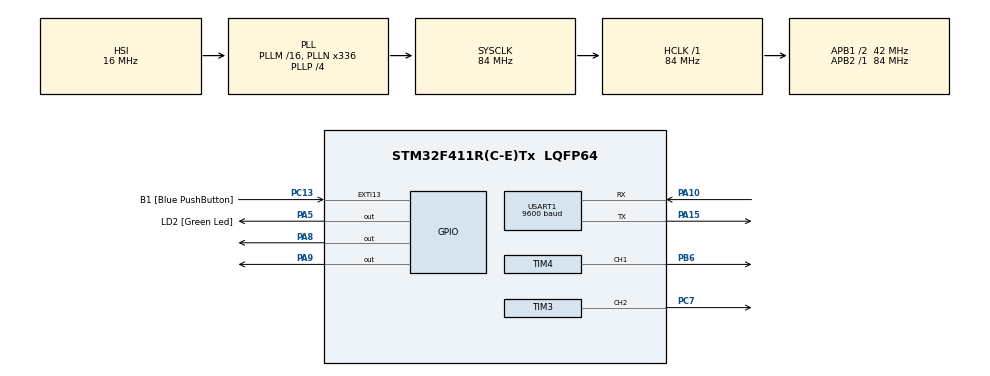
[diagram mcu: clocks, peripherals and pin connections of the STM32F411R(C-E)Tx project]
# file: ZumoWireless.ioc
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Mcu.Family=STM32F4
Mcu.Name=STM32F411R(C-E)Tx
Mcu.Package=LQFP64
NVIC.PriorityGroup=NVIC_PRIORITYGROUP_0
NVIC.USART1_IRQn=true\:0\:0\:false\:false\:true\:true\:true\:true
PA10.Mode=Asynchronous
PA10.Signal=USART1_RX
PA13.GPIO_Label=TMS
PA13.Signal=SYS_JTMS-SWDIO
PA14.GPIO_Label=TCK
PA14.Signal=SYS_JTCK-SWCLK
PA15.Mode=Asynchronous
PA15.Signal=USART1_TX
PA2.GPIO_Label=USART_TX
PA2.Signal=USART2_TX
PA3.GPIO_Label=USART_RX
PA3.Signal=USART2_RX
PA5.GPIO_Label=LD2 [Green Led]
PA5.Signal=GPIO_Output
PA8.Signal=GPIO_Output
PA9.Signal=GPIO_Output
PB3.GPIO_Label=SWO
PB3.Signal=SYS_JTDO-SWO
PB6.Signal=S_TIM4_CH1
PC13-ANTI_TAMP.GPIO_Label=B1 [Blue PushButton]
PC13-ANTI_TAMP.GPIO_ModeDefaultEXTI=GPIO_MODE_IT_FALLING
PC13-ANTI_TAMP.Signal=GPXTI13
PC14-OSC32_IN.Signal=RCC_OSC32_IN
PC15-OSC32_OUT.Signal=RCC_OSC32_OUT
PC7.Signal=S_TIM3_CH2
PH0\ -\ OSC_IN.Signal=RCC_OSC_IN
PH1\ -\ OSC_OUT.Signal=RCC_OSC_OUT
ProjectManager.HeapSize=0x200
ProjectManager.StackSize=0x400
ProjectManager.TargetToolchain=STM32CubeIDE
RCC.48MHZClocksFreq_Value=84000000
RCC.AHBFreq_Value=84000000
RCC.APB1CLKDivider=RCC_HCLK_DIV2
RCC.APB1Freq_Value=42000000
RCC.APB1TimFreq_Value=84000000
RCC.APB2Freq_Value=84000000
RCC.APB2TimFreq_Value=84000000
RCC.CortexFreq_Value=84000000
RCC.FLatency-AdvancedSettings=FLASH_LATENCY_2
RCC.HCLKFreq_Value=84000000
RCC.HSE_VALUE=8000000
RCC.HSI_VALUE=16000000
RCC.LSE_VALUE=32768
RCC.PLLN=336
RCC.PLLP=RCC_PLLP_DIV4
RCC.SYSCLKFreq_VALUE=84000000
RCC.SYSCLKSource=RCC_SYSCLKSOURCE_PLLCLK
RCC.VCOOutputFreq_Value=336000000
SH.S_TIM3_CH2.0=TIM3_CH2,PWM Generation2 CH2
SH.S_TIM4_CH1.0=TIM4_CH1,PWM Generation1 CH1
TIM3.Channel-PWM\ Generation2\ CH2=TIM_CHANNEL_2
TIM3.Period=199
TIM4.Channel-PWM\ Generation1\ CH1=TIM_CHANNEL_1
TIM4.Period=199
USART1.BaudRate=9600
USART1.VirtualMode=VM_ASYNC
VP_TIM3_VS_ClockSourceINT.Mode=Internal
VP_TIM4_VS_ClockSourceINT.Mode=Internal
board=NUCLEO-F411RE

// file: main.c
/* USER CODE BEGIN Header */
/**
  ******************************************************************************
  * @file           : main.c
  * @brief          : Main program body
  ******************************************************************************
  * @attention
  *
  * Copyright (c) 2024 STMicroelectronics.
  * All rights reserved.
  *
  * This software is licensed under terms that can be found in the LICENSE file
  * in the root directory of this software component.
  * If no LICENSE file comes with this software, it is provided AS-IS.
  *
  ******************************************************************************
  */
/* USER CODE END Header */
#include "main.h"

/* USER CODE BEGIN Includes */
#include "string.h"
#include "stdio.h"
#include "genre_table.h"
#include "dance_library.h"
/* USER CODE END Includes */

TIM_HandleTypeDef htim3;
TIM_HandleTypeDef htim4;

UART_HandleTypeDef huart1;

void SystemClock_Config(void);
static void MX_GPIO_Init(void);
static void MX_TIM3_Init(void);
static void MX_TIM4_Init(void);
static void MX_USART1_UART_Init(void);

/* USER CODE BEGIN 0 */
#define TIM3_ADDR 0x40000400 //timer 3 base register
#define TIM4_ADDR 0x40000800 //timer 4 base register
#define TIM_CCR1_OFFSET 0x34 //capture/compare register 1
#define TIM_CCR2_OFFSET 0x38 //capture/compare register 2
#define CCR_MASK 0xFFFF

char genre[1];
char new_genre[1];

void HAL_UART_RxCpltCallback(UART_HandleTypeDef *huart)
{
    if (huart->Instance == USART1)
    {
    	//size_t len = strlen(genre) + 1;
    	//char new_genre[len];
    	//memcpy(new_genre, genre, len);

    	//start_dance(genre);
    	new_genre[0] = genre[0];
    }

    HAL_UART_Receive_IT(&huart1, &genre, sizeof(genre));
 }
/* USER CODE END 0 */

int main(void)
{

  /* USER CODE BEGIN 1 */
	// create_table();
  /* USER CODE END 1 */

  /* MCU Configuration--------------------------------------------------------*/

  /* Reset of all peripherals, Initializes the Flash interface and the Systick. */
  HAL_Init();

  /* Configure the system clock */
  SystemClock_Config();

  /* Initialize all configured peripherals */
  MX_GPIO_Init();
  MX_TIM3_Init();
  MX_TIM4_Init();
  MX_USART1_UART_Init();
  /* USER CODE BEGIN 2 */
  HAL_TIM_PWM_Start(&htim3, TIM_CHANNEL_2);
  HAL_TIM_PWM_Start(&htim4, TIM_CHANNEL_1);
  HAL_UART_Receive_IT(&huart1, &genre, sizeof(genre));
  //HAL_Delay(10000);

  /* USER CODE END 2 */

  /* Infinite loop */
  /* USER CODE BEGIN WHILE */
  while (1)
  {
	  //char genre[1];
//	  HAL_StatusTypeDef status = HAL_UART_Receive(&huart1, &genre, sizeof(genre), HAL_MAX_DELAY);
//	  if (status == HAL_OK) {
////		  size_t len = strlen(genre) + 1;
////		  char new_genre[len];
////		  memcpy(new_genre, genre, len);
//
//		  start_dance(genre[0]);
//	  }
    /* USER CODE END WHILE */

    /* USER CODE BEGIN 3 */
	  start_dance(new_genre[0]);
  }
  /* USER CODE END 3 */
}

void SystemClock_Config(void)
{
  RCC_OscInitTypeDef RCC_OscInitStruct = {0};
  RCC_ClkInitTypeDef RCC_ClkInitStruct = {0};

  /** Configure the main internal regulator output voltage
  */
  __HAL_RCC_PWR_CLK_ENABLE();
  __HAL_PWR_VOLTAGESCALING_CONFIG(PWR_REGULATOR_VOLTAGE_SCALE1);

  /** Initializes the RCC Oscillators according to the specified parameters
  * in the RCC_OscInitTypeDef structure.
  */
  RCC_OscInitStruct.OscillatorType = RCC_OSCILLATORTYPE_HSI;
  RCC_OscInitStruct.HSIState = RCC_HSI_ON;
  RCC_OscInitStruct.HSICalibrationValue = RCC_HSICALIBRATION_DEFAULT;
  RCC_OscInitStruct.PLL.PLLState = RCC_PLL_ON;
  RCC_OscInitStruct.PLL.PLLSource = RCC_PLLSOURCE_HSI;
  RCC_OscInitStruct.PLL.PLLM = 16;
  RCC_OscInitStruct.PLL.PLLN = 336;
  RCC_OscInitStruct.PLL.PLLP = RCC_PLLP_DIV4;
  RCC_OscInitStruct.PLL.PLLQ = 4;
  if (HAL_RCC_OscConfig(&RCC_OscInitStruct) != HAL_OK)
  {
    Error_Handler();
  }

  /** Initializes the CPU, AHB and APB buses clocks
  */
  RCC_ClkInitStruct.ClockType = RCC_CLOCKTYPE_HCLK|RCC_CLOCKTYPE_SYSCLK
                              |RCC_CLOCKTYPE_PCLK1|RCC_CLOCKTYPE_PCLK2;
  RCC_ClkInitStruct.SYSCLKSource = RCC_SYSCLKSOURCE_PLLCLK;
  RCC_ClkInitStruct.AHBCLKDivider = RCC_SYSCLK_DIV1;
  RCC_ClkInitStruct.APB1CLKDivider = RCC_HCLK_DIV2;
  RCC_ClkInitStruct.APB2CLKDivider = RCC_HCLK_DIV1;

  if (HAL_RCC_ClockConfig(&RCC_ClkInitStruct, FLASH_LATENCY_2) != HAL_OK)
  {
    Error_Handler();
  }
}

static void MX_TIM3_Init(void)
{

  TIM_ClockConfigTypeDef sClockSourceConfig = {0};
  TIM_MasterConfigTypeDef sMasterConfig = {0};
  TIM_OC_InitTypeDef sConfigOC = {0};

  htim3.Instance = TIM3;
  htim3.Init.Prescaler = 0;
  htim3.Init.CounterMode = TIM_COUNTERMODE_UP;
  htim3.Init.Period = 199;
  htim3.Init.ClockDivision = TIM_CLOCKDIVISION_DIV1;
  htim3.Init.AutoReloadPreload = TIM_AUTORELOAD_PRELOAD_DISABLE;
  if (HAL_TIM_Base_Init(&htim3) != HAL_OK)
  {
    Error_Handler();
  }
  sClockSourceConfig.ClockSource = TIM_CLOCKSOURCE_INTERNAL;
  if (HAL_TIM_ConfigClockSource(&htim3, &sClockSourceConfig) != HAL_OK)
  {
    Error_Handler();
  }
  if (HAL_TIM_PWM_Init(&htim3) != HAL_OK)
  {
    Error_Handler();
  }
  sMasterConfig.MasterOutputTrigger = TIM_TRGO_RESET;
  sMasterConfig.MasterSlaveMode = TIM_MASTERSLAVEMODE_DISABLE;
  if (HAL_TIMEx_MasterConfigSynchronization(&htim3, &sMasterConfig) != HAL_OK)
  {
    Error_Handler();
  }
  sConfigOC.OCMode = TIM_OCMODE_PWM1;
  sConfigOC.Pulse = 0;
  sConfigOC.OCPolarity = TIM_OCPOLARITY_HIGH;
  sConfigOC.OCFastMode = TIM_OCFAST_DISABLE;
  if (HAL_TIM_PWM_ConfigChannel(&htim3, &sConfigOC, TIM_CHANNEL_2) != HAL_OK)
  {
    Error_Handler();
  }
  HAL_TIM_MspPostInit(&htim3);

}

static void MX_TIM4_Init(void)
{

  TIM_ClockConfigTypeDef sClockSourceConfig = {0};
  TIM_MasterConfigTypeDef sMasterConfig = {0};
  TIM_OC_InitTypeDef sConfigOC = {0};

  htim4.Instance = TIM4;
  htim4.Init.Prescaler = 0;
  htim4.Init.CounterMode = TIM_COUNTERMODE_UP;
  htim4.Init.Period = 199;
  htim4.Init.ClockDivision = TIM_CLOCKDIVISION_DIV1;
  htim4.Init.AutoReloadPreload = TIM_AUTORELOAD_PRELOAD_DISABLE;
  if (HAL_TIM_Base_Init(&htim4) != HAL_OK)
  {
    Error_Handler();
  }
  sClockSourceConfig.ClockSource = TIM_CLOCKSOURCE_INTERNAL;
  if (HAL_TIM_ConfigClockSource(&htim4, &sClockSourceConfig) != HAL_OK)
  {
    Error_Handler();
  }
  if (HAL_TIM_PWM_Init(&htim4) != HAL_OK)
  {
    Error_Handler();
  }
  sMasterConfig.MasterOutputTrigger = TIM_TRGO_RESET;
  sMasterConfig.MasterSlaveMode = TIM_MASTERSLAVEMODE_DISABLE;
  if (HAL_TIMEx_MasterConfigSynchronization(&htim4, &sMasterConfig) != HAL_OK)
  {
    Error_Handler();
  }
  sConfigOC.OCMode = TIM_OCMODE_PWM1;
  sConfigOC.Pulse = 0;
  sConfigOC.OCPolarity = TIM_OCPOLARITY_HIGH;
  sConfigOC.OCFastMode = TIM_OCFAST_DISABLE;
  if (HAL_TIM_PWM_ConfigChannel(&htim4, &sConfigOC, TIM_CHANNEL_1) != HAL_OK)
  {
    Error_Handler();
  }
  HAL_TIM_MspPostInit(&htim4);

}

static void MX_USART1_UART_Init(void)
{

  huart1.Instance = USART1;
  huart1.Init.BaudRate = 9600;
  huart1.Init.WordLength = UART_WORDLENGTH_8B;
  huart1.Init.StopBits = UART_STOPBITS_1;
  huart1.Init.Parity = UART_PARITY_NONE;
  huart1.Init.Mode = UART_MODE_TX_RX;
  huart1.Init.HwFlowCtl = UART_HWCONTROL_NONE;
  huart1.Init.OverSampling = UART_OVERSAMPLING_16;
  if (HAL_UART_Init(&huart1) != HAL_OK)
  {
    Error_Handler();
  }

}

static void MX_GPIO_Init(void)
{
  GPIO_InitTypeDef GPIO_InitStruct = {0};

  /* GPIO Ports Clock Enable */
  __HAL_RCC_GPIOC_CLK_ENABLE();
  __HAL_RCC_GPIOH_CLK_ENABLE();
  __HAL_RCC_GPIOA_CLK_ENABLE();
  __HAL_RCC_GPIOB_CLK_ENABLE();

  /*Configure GPIO pin Output Level */
  HAL_GPIO_WritePin(GPIOA, LD2_Pin|GPIO_PIN_8|GPIO_PIN_9, GPIO_PIN_RESET);

  /*Configure GPIO pin : B1_Pin */
  GPIO_InitStruct.Pin = B1_Pin;
  GPIO_InitStruct.Mode = GPIO_MODE_IT_FALLING;
  GPIO_InitStruct.Pull = GPIO_NOPULL;
  HAL_GPIO_Init(B1_GPIO_Port, &GPIO_InitStruct);

  /*Configure GPIO pins : USART_TX_Pin USART_RX_Pin */
  GPIO_InitStruct.Pin = USART_TX_Pin|USART_RX_Pin;
  GPIO_InitStruct.Mode = GPIO_MODE_AF_PP;
  GPIO_InitStruct.Pull = GPIO_NOPULL;
  GPIO_InitStruct.Speed = GPIO_SPEED_FREQ_VERY_HIGH;
  GPIO_InitStruct.Alternate = GPIO_AF7_USART2;
  HAL_GPIO_Init(GPIOA, &GPIO_InitStruct);

  /*Configure GPIO pins : LD2_Pin PA8 PA9 */
  GPIO_InitStruct.Pin = LD2_Pin|GPIO_PIN_8|GPIO_PIN_9;
  GPIO_InitStruct.Mode = GPIO_MODE_OUTPUT_PP;
  GPIO_InitStruct.Pull = GPIO_NOPULL;
  GPIO_InitStruct.Speed = GPIO_SPEED_FREQ_LOW;
  HAL_GPIO_Init(GPIOA, &GPIO_InitStruct);

}

void Error_Handler(void)
{
  __disable_irq();
  while (1)
  {
  }
}
